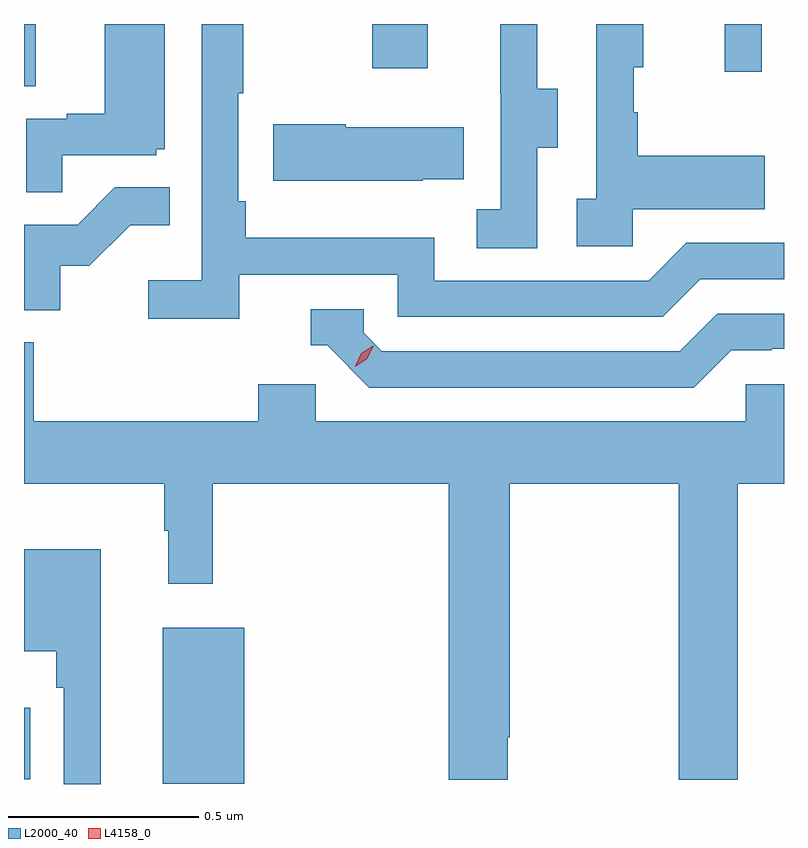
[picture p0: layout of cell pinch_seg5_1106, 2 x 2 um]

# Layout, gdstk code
import gdstk
lib = gdstk.Library(unit=1e-6, precision=1e-09)
def R(c, l, rs):  # rectangles x0, y0, x1, y1
    for r in rs: c.add(gdstk.rectangle(r[:2], r[2:], *l))
def P(c, l, *ps):  # polygons
    for p in ps: c.add(gdstk.Polygon(p, *l))
L2000_40 = (2000, 40)
L4158_0 = (4158, 0)

pinch_seg5_1106 = lib.new_cell('pinch_seg5_1106')
R(pinch_seg5_1106, L2000_40, [(868.349,870.623,868.564,871.033), (867.984,870.635,868,870.823), (867.984,872.458,868.015,872.622), (869.828,872.496,869.925,872.622), (868.9,872.505,869.047,872.622)])
P(pinch_seg5_1106, L2000_40, [(868.085,872.277),(868.332,872.277),(868.332,872.292),(868.354,872.292),(868.354,872.622),(868.196,872.622),(868.196,872.386),(868.097,872.386),(868.097,872.373),(867.99,872.373),(867.99,872.179),(868.085,872.179)],
  [(869.586,872.135),(869.933,872.135),(869.933,872.275),(869.599,872.275),(869.599,872.39),(869.589,872.39),(869.589,872.508),(869.614,872.508),(869.614,872.622),(869.49,872.622),(869.49,872.162),(869.439,872.162),(869.439,872.037),(869.586,872.037)],
  [(869.334,872.296),(869.389,872.296),(869.389,872.451),(869.335,872.451),(869.335,872.622),(869.237,872.622),(869.237,872.439),(869.238,872.439),(869.238,872.135),(869.175,872.135),(869.175,872.032),(869.334,872.032)],
  [(868.55,871.962),(868.968,871.962),(868.968,871.851),(869.665,871.851),(869.764,871.95),(869.984,871.95),(869.984,872.046),(869.727,872.046),(869.628,871.947),(869.064,871.947),(869.064,872.059),(868.568,872.059),(868.568,872.155),(868.548,872.155),(868.548,872.44),(868.561,872.44),(868.561,872.622),(868.452,872.622),(868.452,871.948),(868.311,871.948),(868.311,871.846),(868.55,871.846)],
  [(869.033,872.213),(869.141,872.213),(869.141,872.35),(868.831,872.35),(868.831,872.358),(868.64,872.358),(868.64,872.21),(869.033,872.21)],
  [(868.08,871.986),(868.156,871.986),(868.263,872.093),(868.367,872.093),(868.367,872.192),(868.223,872.192),(868.125,872.094),(867.984,872.094),(867.984,871.869),(868.08,871.869)],
  [(869.845,871.764),(869.952,871.764),(869.952,871.767),(869.984,871.767),(869.984,871.86),(869.808,871.86),(869.709,871.761),(868.926,871.761),(868.878,871.809),(868.878,871.872),(868.739,871.872),(868.739,871.776),(868.782,871.776),(868.893,871.665),(869.746,871.665)],
  [(869.257,870.745),(869.262,870.745),(869.262,871.412),(869.707,871.412),(869.707,870.633),(869.862,870.633),(869.862,871.412),(869.984,871.412),(869.984,871.674),(869.883,871.674),(869.883,871.576),(868.752,871.576),(868.752,871.674),(868.601,871.674),(868.601,871.576),(868.01,871.576),(868.01,871.784),(867.984,871.784),(867.984,871.412),(868.353,871.412),(868.353,871.289),(868.364,871.289),(868.364,871.149),(868.481,871.149),(868.481,871.412),(869.102,871.412),(869.102,870.633),(869.257,870.633)],
  [(868.186,871.24),(867.984,871.24),(867.984,870.971),(868.069,870.971),(868.069,870.875),(868.089,870.875),(868.089,870.622),(868.186,870.622)])
P(pinch_seg5_1106, L4158_0, [(868.856,871.721),(868.856,871.721),(868.872,871.755),(868.903,871.775),(868.903,871.775),(868.903,871.774),(868.887,871.741),(868.857,871.721)])

lib.write_gds('pinch_seg5_1106.gds')
